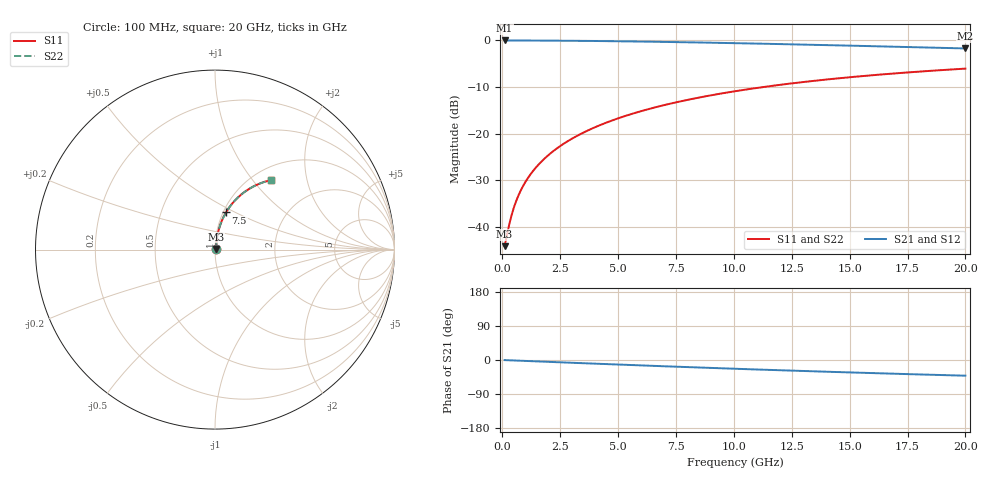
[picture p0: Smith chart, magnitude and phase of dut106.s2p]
! Touchstone file exported from HFSS 2024.1.0
!  File:  C:/UserFiles/LocalFiles/RDL_TSV_Batchsim/temp_RDL_bottom_106_1778695460.aedt
!  Generated:  02:06:58 AM May 14, 2026
!  Design:  RDL_bottom
!  Project:  temp_RDL_bottom_106_1778695460
!  Setup:  Setup1
!  Solution:  Sweep
! Variables:
!  dtsv = 10.80580581um
!  hbump = 3um
!  htsv = 60.17um
!  ldown = 474.88um
!  lrdl = 100um
!  p = 40
!  p1 = 59.74um
!  rhole = 1um
!  t = 450um
!  tdown = 2.52um
!  trdl = 3.915915916um
!  wdown = 12.61um
!  wrdl = 20um
# GHz S MA R 50.000000
! Terminal data exported
! Port[1] = RDL1_T1
! Port[2] = RDL1_T2
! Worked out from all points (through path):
!   200 points, 100 MHz to 20 GHz, reference 50 ohm
!   highest |S21| = -0.05 dB at 100 MHz (marker M1); lowest = -1.8 dB at 20 GHz (marker M2)
!   group delay of S21, straight-line fit = 5.76 ps
!   lowest |S11| = -44.2 dB at 100 MHz (marker M3), VSWR 1.01, Z = 50.5 + j0.305 ohm
!   |S11| at or under -10 dB: start of sweep to 11.33 GHz
!   |S22| runs from -44.2 to -6.1 dB; largest |S21 - S12| = 2.6e-15
!   S11 on the Smith chart (normalised r, x): 100 MHz: 1.01, +0.01; 7.5 GHz: 1.03, +0.45; 20 GHz: 1.21, +1.24
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0.1  0.006195 29.1  0.9946 -0.3  0.9946 -0.3  0.006195 29.1
! Gamma 0 0 0 0
! Port Impedance 50 0 50 0
0.3  0.01061 58.2  0.9944 -0.8  0.9944 -0.8  0.01061 58.2
0.4  0.01329 64.4  0.9943 -1.0  0.9943 -1.0  0.01329 64.5
0.5  0.01606 68.4  0.9941 -1.3  0.9941 -1.3  0.01606 68.4
0.6  0.01888 71.2  0.994 -1.5  0.994 -1.5  0.01888 71.2
0.7  0.02172 73.1  0.9938 -1.7  0.9938 -1.7  0.02172 73.1
0.9  0.02742 75.7  0.9934 -2.2  0.9934 -2.2  0.02742 75.7
1.2  0.03599 77.9  0.9928 -3.0  0.9928 -3.0  0.03599 77.9
1.4  0.04172 78.8  0.9923 -3.4  0.9923 -3.4  0.04172 78.8
1.7  0.05032 79.6  0.9915 -4.2  0.9915 -4.2  0.05032 79.6
2.2  0.0647 80.2  0.9899 -5.4  0.9899 -5.4  0.0647 80.2
2.8  0.082 80.2  0.9876 -6.8  0.9876 -6.8  0.082 80.2
3.5  0.1022 79.7  0.9843 -8.5  0.9843 -8.5  0.1022 79.7
4.2  0.1224 78.9  0.9805 -10.1  0.9805 -10.1  0.1224 78.9
5  0.1453 77.8  0.9754 -12.0  0.9754 -12.0  0.1453 77.8
5.9  0.171 76.3  0.9688 -14.1  0.9688 -14.1  0.171 76.3
6.8  0.1963 74.8  0.9616 -16.1  0.9616 -16.1  0.1963 74.8
7.5  0.2157 73.5  0.9555 -17.7  0.9555 -17.7  0.2158 73.5
10.1  0.2852 68.6  0.9301 -23.2  0.9301 -23.2  0.2853 68.6
13.4  0.3657 62.5  0.8937 -29.8  0.8937 -29.8  0.3657 62.5
16.7  0.436 56.6  0.8553 -35.8  0.8553 -35.8  0.4361 56.6
20  0.4962 51.2  0.8167 -41.4  0.8167 -41.4  0.4963 51.2
